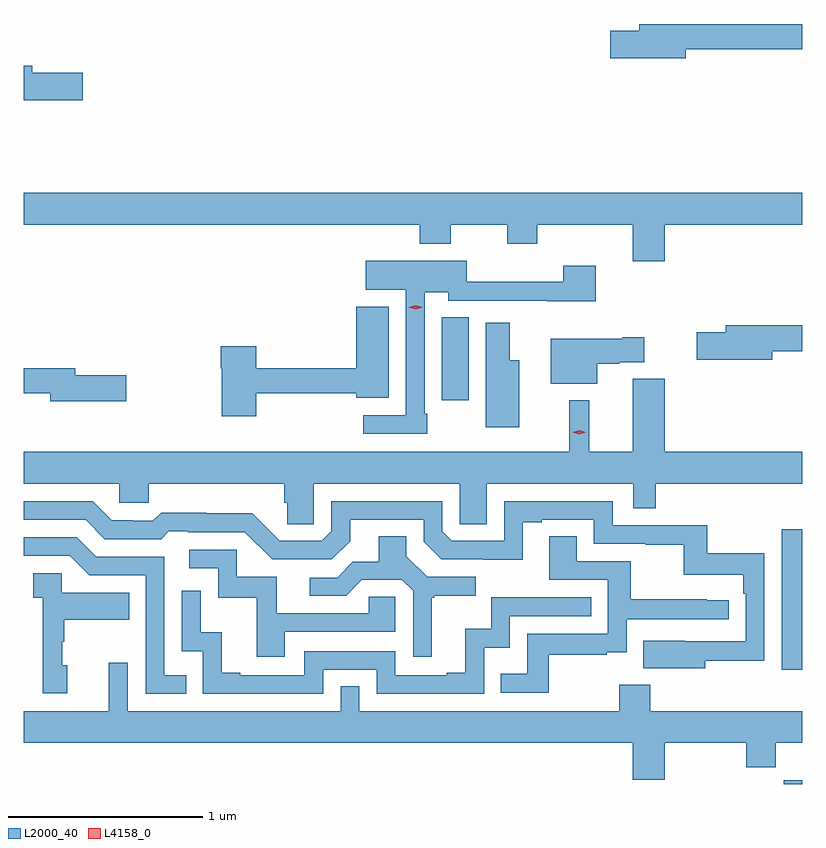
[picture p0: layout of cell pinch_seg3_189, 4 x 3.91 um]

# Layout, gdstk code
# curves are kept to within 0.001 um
import gdstk
lib = gdstk.Library(unit=1e-6, precision=1e-09)
def R(c, l, rs):  # rectangles x0, y0, x1, y1
    for r in rs: c.add(gdstk.rectangle(r[:2], r[2:], *l))
def P(c, l, *ps):  # polygons
    for p in ps: c.add(gdstk.Polygon(p, *l))
L2000_40 = (2000, 40)
L4158_0 = (4158, 0)

pinch_seg3_189 = lib.new_cell('pinch_seg3_189')
R(pinch_seg3_189, L2000_40, [(980.968,728.677,981.062,728.695), (980.957,729.264,981.062,729.985), (979.211,730.65,979.348,731.075)])
P(pinch_seg3_189, L2000_40, [(980.464,732.454),(981.062,732.454),(981.062,732.583),(980.225,732.583),(980.225,732.549),(980.076,732.549),(980.076,732.407),(980.464,732.407)],
  [(977.365,732.332),(977.104,732.332),(977.104,732.368),(977.062,732.368),(977.062,732.19),(977.365,732.19)],
  [(980.356,731.552),(981.062,731.552),(981.062,731.716),(977.062,731.716),(977.062,731.552),(979.097,731.552),(979.097,731.453),(979.257,731.453),(979.257,731.552),(979.546,731.552),(979.546,731.453),(979.701,731.453),(979.701,731.552),(980.192,731.552),(980.192,731.364),(980.356,731.364)],
  [(979.135,730.579),(979.122,730.579),(979.122,731.204),(979.242,731.204),(979.242,731.16),(979.751,731.16),(979.751,731.159),(980,731.159),(980,731.341),(979.835,731.341),(979.835,731.258),(979.338,731.258),(979.338,731.365),(978.819,731.365),(978.819,731.216),(979.026,731.216),(979.026,730.572),(978.807,730.572),(978.807,730.476),(979.135,730.476)],
  [(978.257,730.686),(978.77,730.686),(978.77,730.661),(978.937,730.661),(978.937,731.131),(978.77,731.131),(978.77,730.814),(978.257,730.814),(978.257,730.927),(978.074,730.927),(978.074,730.814),(978.079,730.814),(978.079,730.566),(978.257,730.566)],
  [(979.609,730.855),(979.558,730.855),(979.558,731.047),(979.436,731.047),(979.436,730.511),(979.609,730.511)],
  [(980.908,730.9),(981.062,730.9),(981.062,731.036),(980.669,731.036),(980.669,731),(980.52,731),(980.52,730.858),(980.908,730.858)],
  [(980.008,730.837),(980.121,730.837),(980.121,730.844),(980.251,730.844),(980.251,730.974),(980.138,730.974),(980.138,730.966),(979.769,730.966),(979.769,730.733),(980.008,730.733)],
  [(977.587,730.778),(977.326,730.778),(977.326,730.814),(977.062,730.814),(977.062,730.686),(977.198,730.686),(977.198,730.643),(977.587,730.643)],
  [(977.062,730.22),(977.553,730.22),(977.553,730.122),(977.703,730.122),(977.703,730.22),(978.401,730.22),(978.401,730.122),(978.415,730.122),(978.415,730.012),(978.552,730.012),(978.552,730.22),(979.302,730.22),(979.302,730.012),(979.441,730.012),(979.441,730.22),(980.193,730.22),(980.193,730.093),(980.309,730.093),(980.309,730.22),(981.062,730.22),(981.062,730.384),(980.356,730.384),(980.356,730.759),(980.192,730.759),(980.192,730.384),(979.968,730.384),(979.968,730.648),(979.864,730.648),(979.864,730.384),(977.062,730.384)],
  [(980.563,729.31),(980.868,729.31),(980.868,729.862),(980.575,729.862),(980.575,730.008),(980.088,730.008),(980.088,730.131),(979.53,730.131),(979.53,729.927),(979.26,729.927),(979.212,729.975),(979.212,730.131),(978.642,730.131),(978.642,729.975),(978.594,729.927),(978.378,729.927),(978.236,730.069),(978,730.069),(978,730.072),(977.767,730.072),(977.725,730.029),(977.622,730.029),(977.622,730.032),(977.515,730.032),(977.416,730.131),(977.062,730.131),(977.062,730.035),(977.379,730.035),(977.478,729.936),(977.767,729.936),(977.806,729.975),(977.905,729.975),(977.905,729.972),(978.198,729.972),(978.339,729.831),(978.645,729.831),(978.739,729.925),(978.739,730.035),(979.116,730.035),(979.116,729.921),(979.206,729.831),(979.627,729.83),(979.627,730.023),(979.723,730.023),(979.723,730.035),(979.992,730.035),(979.992,729.912),(980.257,729.912),(980.257,729.907),(980.454,729.907),(980.454,729.752),(980.759,729.752),(980.759,729.656),(980.772,729.656),(980.772,729.411),(980.245,729.412),(980.245,729.272),(980.563,729.272)],
  [(979.159,729.633),(979.171,729.633),(979.171,729.644),(979.384,729.644),(979.384,729.741),(979.134,729.741),(979.027,729.848),(979.027,729.95),(978.887,729.95),(978.887,729.818),(978.752,729.818),(978.672,729.738),(978.531,729.738),(978.531,729.645),(978.718,729.645),(978.799,729.726),(979.005,729.726),(979.062,729.669),(979.062,729.33),(979.159,729.33)],
  [(979.759,729.342),(980.057,729.342),(980.057,729.353),(980.16,729.353),(980.16,729.525),(980.686,729.525),(980.686,729.621),(980.573,729.621),(980.573,729.626),(980.18,729.626),(980.18,729.822),(979.903,729.822),(979.903,729.95),(979.763,729.95),(979.763,729.726),(980.064,729.726),(980.064,729.45),(979.648,729.45),(979.648,729.244),(979.513,729.244),(979.513,729.147),(979.759,729.147)],
  [(977.897,729.237),(977.784,729.237),(977.784,729.846),(977.434,729.846),(977.335,729.945),(977.062,729.945),(977.062,729.849),(977.298,729.849),(977.397,729.75),(977.688,729.75),(977.688,729.141),(977.897,729.141)],
  [(978.403,729.459),(978.972,729.459),(978.972,729.639),(978.835,729.639),(978.835,729.555),(978.361,729.555),(978.361,729.741),(978.156,729.741),(978.156,729.882),(977.913,729.882),(977.913,729.786),(978.06,729.786),(978.06,729.633),(978.259,729.633),(978.259,729.33),(978.403,729.33)],
  [(977.284,729.288),(977.259,729.288),(977.259,729.407),(977.269,729.407),(977.269,729.521),(977.603,729.521),(977.603,729.661),(977.256,729.661),(977.256,729.759),(977.109,729.759),(977.109,729.635),(977.16,729.635),(977.16,729.144),(977.284,729.144)],
  [(978.6,729.264),(978.876,729.264),(978.876,729.141),(979.428,729.141),(979.428,729.377),(979.56,729.377),(979.56,729.54),(979.979,729.54),(979.979,729.636),(979.464,729.636),(979.464,729.475),(979.331,729.475),(979.331,729.25),(979.235,729.25),(979.235,729.237),(978.972,729.237),(978.972,729.36),(978.504,729.36),(978.504,729.237),(978.175,729.237),(978.175,729.25),(978.08,729.25),(978.08,729.458),(977.97,729.458),(977.97,729.67),(977.874,729.67),(977.874,729.36),(977.982,729.36),(977.982,729.141),(978.6,729.141)],
  [(980.356,728.888),(980.776,728.888),(980.776,728.764),(980.927,728.764),(980.927,728.888),(981.062,728.888),(981.062,729.052),(980.282,729.052),(980.282,729.187),(980.122,729.187),(980.122,729.052),(978.786,729.052),(978.786,729.179),(978.69,729.179),(978.69,729.052),(977.595,729.052),(977.595,729.301),(977.498,729.301),(977.498,729.052),(977.062,729.052),(977.062,728.888),(980.192,728.888),(980.192,728.7),(980.356,728.7)])
P(pinch_seg3_189, L4158_0, [(979.917,730.475),(979.884,730.485),(979.883,730.485),(979.884,730.485),(979.917,730.495),(979.95,730.486),(979.95,730.486),(979.95,730.486)],
  [(979.075,731.118),(979.04,731.128),(979.04,731.128),(979.04,731.128),(979.075,731.138),(979.11,731.128),(979.11,731.128),(979.11,731.128)])

lib.write_gds('pinch_seg3_189.gds')
